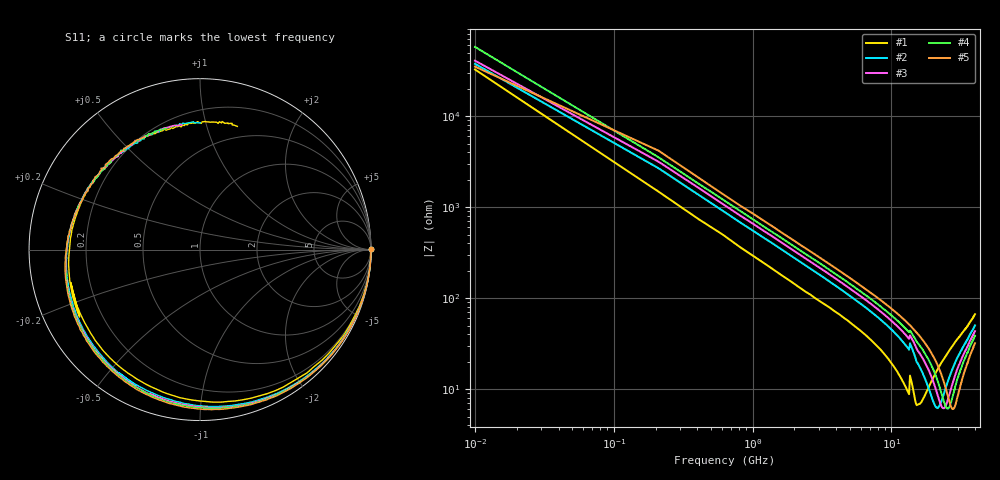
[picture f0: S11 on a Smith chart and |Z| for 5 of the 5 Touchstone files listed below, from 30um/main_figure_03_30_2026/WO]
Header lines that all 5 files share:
!Agilent Technologies,N5227A,US51270434,A.10.00.00
!Agilent N5227A: A.10.00.00
!Correction: S11(Full 1 Port(1))
!S1P File: Measurement: S11:
# Hz S  dB  R 50
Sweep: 10 MHz to 40 GHz
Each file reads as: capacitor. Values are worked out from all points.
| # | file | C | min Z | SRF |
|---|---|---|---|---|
| 1 | Bias_0V_WO.s1p | 522 fF | 6.67 ohm | 15.37 GHz |
| 2 | Bias_-3V_WO.s1p | 285 fF | 6.18 ohm | 21.63 GHz |
| 3 | Bias_-4V_WO.s1p | 240 fF | 6.17 ohm | 23.98 GHz |
| 4 | Bias_-5V_WO.s1p | 214 fF | 6.11 ohm | 25.65 GHz |
| 5 | Bias_-7V_WO.s1p | 185 fF | 6.04 ohm | 28.03 GHz |
